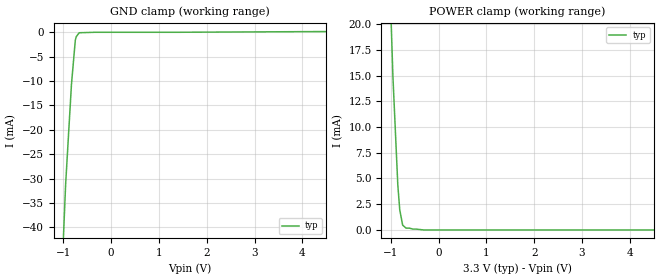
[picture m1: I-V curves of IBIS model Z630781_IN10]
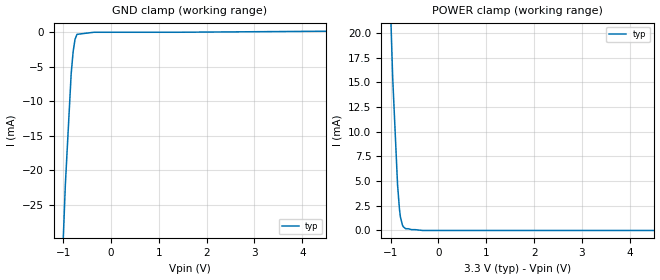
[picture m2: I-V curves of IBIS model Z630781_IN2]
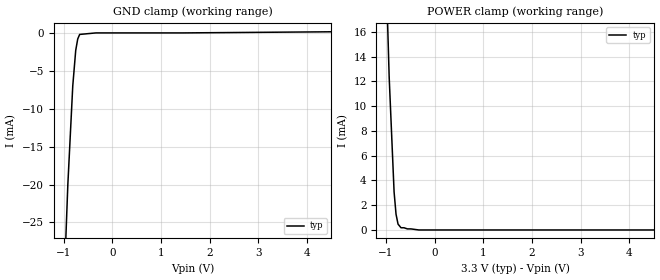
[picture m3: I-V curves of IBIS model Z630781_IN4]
| YOU ARE ONLY AUTHORIZED TO USE THIS SOFTWARE
| ACCORDING TO LICENSOR'S LICENSE RESTRICTIONS.
[IBIS Ver] 3.1
[File Name] mc100ep14dt_33.ibs
[File Rev] 2.0
[Source] Derived from mc100ep139dt as Measured and created by ICX |Technology
[Date] 12/11/00
[Copyright]
| (C) COPYRIGHT 1993-2000
| MENTOR GRAPHICS CORPORATION
| ICX STANDARD LIBRARY, ICX PROJECT MODELING,
| ICX CUSTOM MODELING, ICX VENDOR MODEL
| ALL RIGHTS RESERVED.
| THE FOLLOWING ARE TRADEMARKS OR SERVICE MARKS OF
| MENTOR GRAPHICS CORPORATION:ICX (R), ICX STANDARD
| LIBRARY(R), ICX PROJECT MODELING(R), ICX CUSTOM
| MODELING(R), qualityIBIS(TM), MODELVIEWER(TM),
| AND MODELEDITOR(TM)
| ALL COPIES OF SOFTWARE, INCLUDING BUT NOT LIMITED TO
| ANY MODIFICATIONS, ENHANCEMENTS OR DERIVATIVE WORKS,
| MUST CONTAIN ALL MENTOR GRAPHICS CORPORATION'S
| NOTICES AND LEGENDS, INCLUDING THOSE EMBEDDED IN
| SOFTWARE AND THOSE AFFIXED TO SOFTWARE MEDIUM
| AND CONTAINER, AS RECEIVED FROM MENTOR GRAPHICS
| CORPORATION.
|  ZAP Model Builder 2.8
[Component] MC100EP14DT_33
[Manufacturer] ON
[Package]
| variable   typ   min   max
R_pkg  .18ohms NA NA
L_pkg  4.22nH NA NA
C_pkg  .41pF NA NA
[Pin] signal_name  model_name  R_pin  L_pin C_pin
1 Q0 Z630781_OUT13 .185 4.57n .42p
2 _Q0 Z630781_OUT13 .185 4.57n .42p
3 Q1 Z630781_OUT13 .185 4.57n .42p
4 _Q1 Z630781_OUT13 .185 4.57n .42p
5 Q2 Z630781_OUT13 .185 4.57n .42p
6 _Q2 Z630781_OUT13 .185 4.57n .42p
7 Q3 Z630781_OUT13 .185 4.57n .42p
8 _Q3 Z630781_OUT13 .185 4.57n .42p
9  Q4 Z630781_OUT13 .185 4.57n .42p
10 _Q4 Z630781_OUT13 .185 4.57n .42p
11 VEE POWER .194 5.16n .43p
12 CLK_SEL Z630781_IN10 .177 3.98n .42p
13 CLK0 Z630781_IN4 .174 3.79n .41p
14 _CLK0 Z630781_IN4 .171 3.6n .37p
15 VBB POWER .171 3.6n .37p
16 CLK1 Z630781_IN4 .174 3.79n .41p
17 _CLK1 Z630781_IN4 .171 3.6n .37p
18 VCC POWER .194 5.16n .43p
19 _EN Z630781_IN2 .185 4.57n .42p
20 VCC POWER .194 5.16n .43p
[Diff Pin] inv_pin vdiff tdelay_typ tdelay_min tdelay_max
1 2 NA .05ns NA NA
3 4 NA .05ns NA NA
5 6 NA .05ns NA NA
7 8 NA .05ns NA NA
9 10 NA .05ns NA NA
13 14 800mv NA NA NA
16 17 800mv NA NA NA
| Models and submodels in the file (4): Z630781_IN10 (Input_ECL), Z630781_IN2 (Input_ECL), Z630781_IN4 (Input_ECL), Z630781_OUT13 (Output_ECL)
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| (C) COPYRIGHT 1993-2000
| MENTOR GRAPHICS CORPORATION
| ICX STANDARD LIBRARY, ICX PROJECT MODELING,
| ICX CUSTOM MODELING, ICX VENDOR MODEL
| ALL RIGHTS RESERVED.
| THE FOLLOWING ARE TRADEMARKS OR SERVICE MARKS OF
| MENTOR GRAPHICS CORPORATION:ICX (R), ICX STANDARD
| LIBRARY(R), ICX PROJECT MODELING(R), ICX CUSTOM
| MODELING(R), qualityIBIS(TM), MODELVIEWER(TM),
| AND MODELEDITOR(TM)
| ALL COPIES OF SOFTWARE, INCLUDING BUT NOT LIMITED TO
| ANY MODIFICATIONS, ENHANCEMENTS OR DERIVATIVE WORKS,
| MUST CONTAIN ALL MENTOR GRAPHICS CORPORATION'S
| NOTICES AND LEGENDS, INCLUDING THOSE EMBEDDED IN
| SOFTWARE AND THOSE AFFIXED TO SOFTWARE MEDIUM
| AND CONTAINER, AS RECEIVED FROM MENTOR GRAPHICS
| CORPORATION.
| Model Application Version 1.89 2/18/99.
[Model] Z630781_IN10
Model_type Input_ECL
Vinl = 1.657V
Vinh = 2.277V
C_comp 3.000pF NA NA
| variable typ   min   max
[Voltage Range] 3.300V NA NA
[GND Clamp Reference] 0.000V NA NA
[POWER Clamp Reference] 3.300V NA NA
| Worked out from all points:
|   GND clamp passes 1 mA (typ) near -0.73 V on its own axis
|   POWER clamp passes 1 mA (typ) near -0.78 V on its own axis
[GND Clamp]
-3.3V     -691.5mA   NA         NA
-1.074V   -59.8mA    NA         NA
-953mV    -31.2mA    NA         NA
-831mV    -10.7mA    NA         NA
-750mV    -1.6mA     NA         NA
-730mV    -900uA     NA         NA
-669mV    -100uA     NA         NA
-334.5mV  0A         NA         NA
1.429V    0A         NA         NA
6.6V      251.4uA    NA         NA
[POWER Clamp]
-3.3V     412.8mA    NA         NA
-1.058V   29.26mA    NA         NA
-957mV    14.86mA    NA         NA
-855mV    4.367mA    NA         NA
-815mV    1.969mA    NA         NA
-754mV    472.4uA    NA         NA
-683mV    179.3uA    NA         NA
-612mV    179.3uA    NA         NA
-541mV    86.19uA    NA         NA
-470mV    86.19uA    NA         NA
-313.3mV  0A         NA         NA
6.6V      0A         NA         NA
| (C) COPYRIGHT 1993-2000
| MENTOR GRAPHICS CORPORATION
| ICX STANDARD LIBRARY, ICX PROJECT MODELING,
| ICX CUSTOM MODELING, ICX VENDOR MODEL
| ALL RIGHTS RESERVED.
| THE FOLLOWING ARE TRADEMARKS OR SERVICE MARKS OF
| MENTOR GRAPHICS CORPORATION:ICX (R), ICX STANDARD
| LIBRARY(R), ICX PROJECT MODELING(R), ICX CUSTOM
| MODELING(R), qualityIBIS(TM), MODELVIEWER(TM),
| AND MODELEDITOR(TM)
| ALL COPIES OF SOFTWARE, INCLUDING BUT NOT LIMITED TO
| ANY MODIFICATIONS, ENHANCEMENTS OR DERIVATIVE WORKS,
| MUST CONTAIN ALL MENTOR GRAPHICS CORPORATION'S
| NOTICES AND LEGENDS, INCLUDING THOSE EMBEDDED IN
| SOFTWARE AND THOSE AFFIXED TO SOFTWARE MEDIUM
| AND CONTAINER, AS RECEIVED FROM MENTOR GRAPHICS
| CORPORATION.
| Model Application Version 1.89 2/18/99.
[Model] Z630781_IN2
Model_type Input_ECL
Vinl = 1.657V
Vinh = 2.277V
C_comp 3.000pF NA NA
| variable typ   min   max
[Voltage Range] 3.300V NA NA
[GND Clamp Reference] 0.000V NA NA
[POWER Clamp Reference] 3.300V NA NA
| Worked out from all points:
|   GND clamp passes 1 mA (typ) near -0.75 V on its own axis
|   POWER clamp passes 1 mA (typ) near -0.78 V on its own axis
[GND Clamp]
-3.3V     -520.5mA   NA         NA
-1.074V   -43.9mA    NA         NA
-953mV    -22.1mA    NA         NA
-831mV    -6mA       NA         NA
-790mV    -2.8mA     NA         NA
-750mV    -1mA       NA         NA
-709mV    -300uA     NA         NA
-354.5mV  0A         NA         NA
1.409V    0A         NA         NA
6.6V      252.3uA    NA         NA
[POWER Clamp]
-3.3V     447.2mA    NA         NA
-1.099V   37.65mA    NA         NA
-957mV    15.56mA    NA         NA
-855mV    4.667mA    NA         NA
-815mV    2.168mA    NA         NA
-795mV    1.369mA    NA         NA
-754mV    571.4uA    NA         NA
-734mV    372.4uA    NA         NA
-683mV    177.4uA    NA         NA
-326.7mV  0A         NA         NA
6.6V      0A         NA         NA
| (C) COPYRIGHT 1993-2000
| MENTOR GRAPHICS CORPORATION
| ICX STANDARD LIBRARY, ICX PROJECT MODELING,
| ICX CUSTOM MODELING, ICX VENDOR MODEL
| ALL RIGHTS RESERVED.
| THE FOLLOWING ARE TRADEMARKS OR SERVICE MARKS OF
| MENTOR GRAPHICS CORPORATION:ICX (R), ICX STANDARD
| LIBRARY(R), ICX PROJECT MODELING(R), ICX CUSTOM
| MODELING(R), qualityIBIS(TM), MODELVIEWER(TM),
| AND MODELEDITOR(TM)
| ALL COPIES OF SOFTWARE, INCLUDING BUT NOT LIMITED TO
| ANY MODIFICATIONS, ENHANCEMENTS OR DERIVATIVE WORKS,
| MUST CONTAIN ALL MENTOR GRAPHICS CORPORATION'S
| NOTICES AND LEGENDS, INCLUDING THOSE EMBEDDED IN
| SOFTWARE AND THOSE AFFIXED TO SOFTWARE MEDIUM
| AND CONTAINER, AS RECEIVED FROM MENTOR GRAPHICS
| CORPORATION.
| Model Application Version 1.89 2/18/99.
[Model] Z630781_IN4
Model_type Input_ECL
Vinl = 1.657V
Vinh = 2.277V
C_comp 3.000pF NA NA
| variable typ   min   max
[Voltage Range] 3.300V NA NA
[GND Clamp Reference] 0.000V NA NA
[POWER Clamp Reference] 3.300V NA NA
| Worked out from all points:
|   GND clamp passes 1 mA (typ) near -0.71 V on its own axis
|   POWER clamp passes 1 mA (typ) near -0.78 V on its own axis
[GND Clamp]
-3.3V     -513mA     NA         NA
-1.054V   -44.4mA    NA         NA
-912mV    -20mA      NA         NA
-811mV    -7mA       NA         NA
-750mV    -2.3mA     NA         NA
-709mV    -800uA     NA         NA
-669mV    -200uA     NA         NA
-334.5mV  0A         NA         NA
1.449V    0A         NA         NA
6.6V      250.3uA    NA         NA
[POWER Clamp]
-3.3V     400.2mA    NA         NA
-1.038V   26.06mA    NA         NA
-936mV    12.36mA    NA         NA
-835mV    3.069mA    NA         NA
-795mV    1.271mA    NA         NA
-754mV    473.4uA    NA         NA
-693mV    179.3uA    NA         NA
-632mV    179.3uA    NA         NA
-561mV    86.25uA    NA         NA
-490mV    86.25uA    NA         NA
-326.7mV  0A         NA         NA
6.6V      0A         NA         NA
